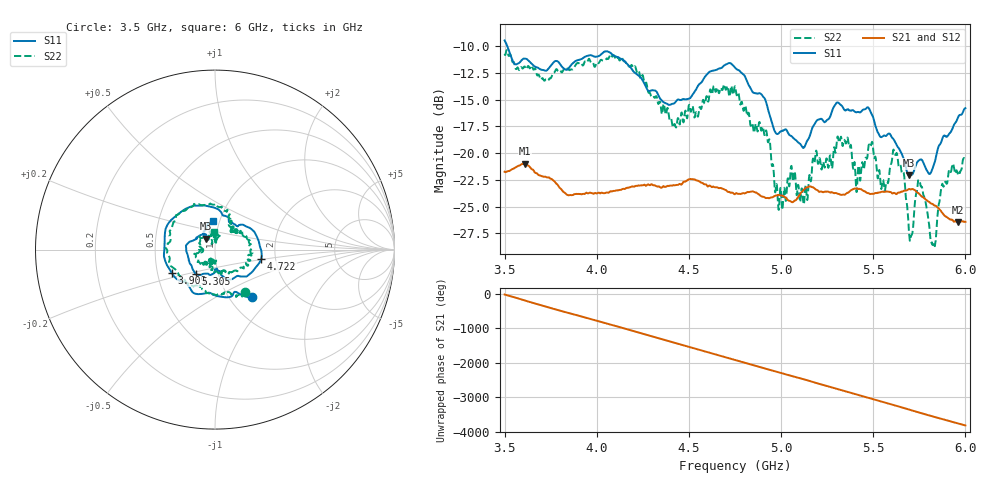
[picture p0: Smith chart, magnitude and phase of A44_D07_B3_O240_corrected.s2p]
! Created with skrf 1.9.0 (http://scikit-rf.org).
# Hz S RI R 50.0
!freq ReS11 ImS11 ReS21 ImS21 ReS12 ImS12 ReS22 ImS22
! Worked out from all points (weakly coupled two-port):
!   1601 points, 3.5 GHz to 6 GHz, reference 50 ohm
!   highest |S21| = -21.00 dB at 3.609 GHz (marker M1); lowest = -26.5 dB at 5.959 GHz (marker M2)
!   lowest |S11| = -22.1 dB at 5.695 GHz (marker M3), VSWR 1.17, Z = 44.8 + j5.42 ohm
!   |S11| at or under -10 dB: 3.514 GHz to end of sweep
!   |S22| runs from -28.7 to -10.4 dB; largest |S21 - S12| = 0.00099
!   S11 on the Smith chart (normalised r, x): 3.5 GHz: 1.26, -0.76; 3.909 GHz: 0.60, -0.17; 4.722 GHz: 1.69, -0.18; 5.305 GHz: 0.78, -0.22; 6 GHz: 0.93, +0.31
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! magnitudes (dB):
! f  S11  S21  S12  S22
! 3.5 GHz  -9.5  -21.7  -21.7  -10.7
! 3.609 GHz  -11.2  -21.0  -21.0  -11.9
! 3.909 GHz  -11.3  -23.8  -23.8  -11.5
! 3.917 GHz  -11.2  -23.9  -23.8  -11.6
! 4.142 GHz  -11.3  -23.4  -23.3  -11.3
! 4.334 GHz  -14.6  -23.1  -23.1  -15.4
! 4.422 GHz  -15.3  -23.0  -23.0  -17.3
! 4.722 GHz  -11.6  -23.7  -23.7  -14.6
! 4.75 GHz  -12.0  -23.8  -23.8  -13.8
! 4.928 GHz  -15.8  -24.2  -24.2  -19.0
! 4.995 GHz  -18.0  -24.0  -23.9  -23.3
! 5.167 GHz  -17.8  -23.2  -23.1  -21.6
! 5.305 GHz  -15.3  -23.8  -23.7  -18.6
! 5.417 GHz  -16.2  -23.4  -23.4  -21.6
! 5.584 GHz  -18.2  -23.6  -23.6  -22.3
! 5.622 GHz  -19.1  -23.8  -23.8  -20.2
! 5.695 GHz  -22.1  -23.4  -23.3  -27.7
! 5.753 GHz  -20.6  -23.9  -23.8  -22.8
! 5.828 GHz  -21.1  -24.9  -24.8  -28.5
! 5.877 GHz  -18.6  -25.6  -25.6  -22.9
! 5.959 GHz  -16.7  -26.5  -26.4  -22.0
! 6 GHz  -15.8  -26.4  -26.4  -20.2
